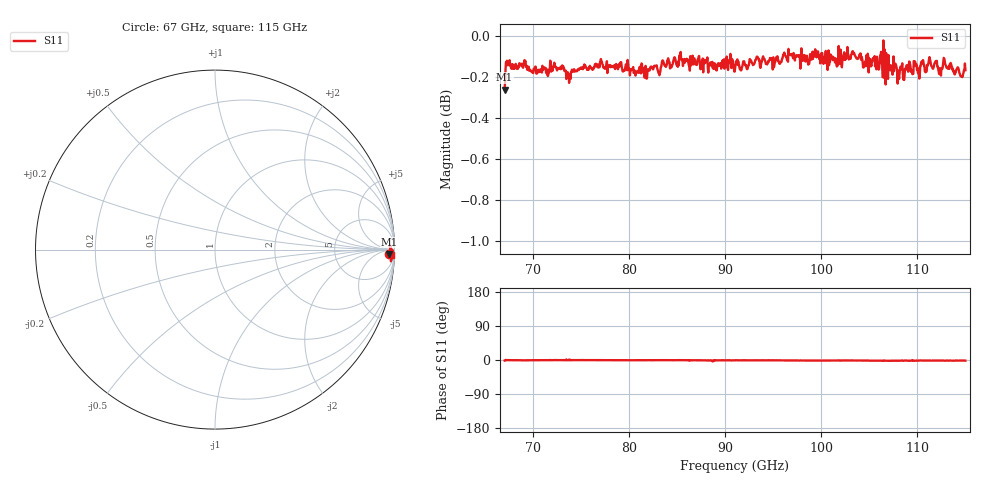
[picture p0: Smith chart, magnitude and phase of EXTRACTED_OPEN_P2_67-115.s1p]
! Generated by Phase I extraction
# Hz S RI R 50
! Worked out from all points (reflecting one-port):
!   1001 points, 67 GHz to 115 GHz, reference 50 ohm
!   lowest |S11| = -0.3 dB at 67 GHz (marker M1), VSWR 66.43, Z = 1.93e+03 - j1.64e+03 ohm
!   phase of S11 starts at -1 deg and turns -0 deg over the sweep
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6.7e10  0.97 -0.0248
6.7336e10  0.9836 -0.00476
6.8968e10  0.9845 -0.015
6.9736e10  0.9806 -0.00746
7.3e10  0.9835 -0.0054
7.3624e10  0.9787 -0.00648
7.4152e10  0.9802 -0.0057
7.9e10  0.9842 -0.00949
8.1832e10  0.9764 -0.0079
8.5e10  0.9848 -0.00827
8.8264e10  0.9831 -0.0201
8.8456e10  0.985 -0.0191
8.8648e10  0.9844 -0.0472
8.884e10  0.9846 -0.0186
8.8984e10  0.9814 -0.0122
8.9176e10  0.9838 -0.015
9.1e10  0.9814 -0.0105
9.5176e10  0.985 -0.0145
9.7e10  0.9891 -0.0191
9.8536e10  0.9865 -0.0253
9.9304e10  0.9881 -0.0257
1.01464e11  0.987 -0.0215
1.03e11  0.9872 -0.0204
1.06984e11  0.9887 -0.034
1.08088e11  0.9754 -0.0343
1.09e11  0.9807 -0.0308
1.1044e11  0.9854 -0.0242
1.15e11  0.9805 -0.0288
